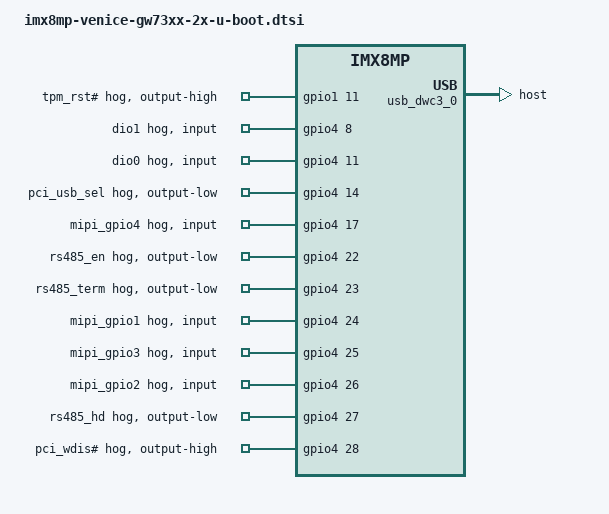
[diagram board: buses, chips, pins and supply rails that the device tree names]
// SPDX-License-Identifier: GPL-2.0+
/*
 * Copyright 2023 Gateworks Corporation
 */
#include "imx8mp-venice-gw702x-u-boot.dtsi"

&ethphy0 {
	reset-gpios = <&gpio3 14 GPIO_ACTIVE_LOW>;
	reset-delay-us = <1000>;
	reset-post-delay-us = <300000>;
};

&gpio1 {
	tpm_rst {
		gpio-hog;
		output-high;
		gpios = <11 GPIO_ACTIVE_HIGH>;
		line-name = "tpm_rst#";
	};
};

&gpio4 {
	dio_1 {
		gpio-hog;
		input;
		gpios = <8 GPIO_ACTIVE_HIGH>;
		line-name = "dio1";
	};

	dio_0 {
		gpio-hog;
		input;
		gpios = <11 GPIO_ACTIVE_HIGH>;
		line-name = "dio0";
	};

	pci_usb_sel {
		gpio-hog;
		output-low;
		gpios = <14 GPIO_ACTIVE_HIGH>;
		line-name = "pci_usb_sel";
	};

	mipi_gpio4 {
		gpio-hog;
		input;
		gpios = <17 GPIO_ACTIVE_HIGH>;
		line-name = "mipi_gpio4";
	};

	rs485_en {
		gpio-hog;
		output-low;
		gpios = <22 GPIO_ACTIVE_HIGH>;
		line-name = "rs485_en";
	};

	rs485_term {
		gpio-hog;
		output-low;
		gpios = <23 GPIO_ACTIVE_HIGH>;
		line-name = "rs485_term";
	};

	mipi_gpio1 {
		gpio-hog;
		input;
		gpios = <24 GPIO_ACTIVE_HIGH>;
		line-name = "mipi_gpio1";
	};

	mipi_gpio3 {
		gpio-hog;
		input;
		gpios = <25 GPIO_ACTIVE_HIGH>;
		line-name = "mipi_gpio3";
	};

	mipi_gpio2 {
		gpio-hog;
		input;
		gpios = <26 GPIO_ACTIVE_HIGH>;
		line-name = "mipi_gpio2";
	};

	rs485_hd {
		gpio-hog;
		output-low;
		gpios = <27 GPIO_ACTIVE_HIGH>;
		line-name = "rs485_hd";
	};

	pci_wdis {
		gpio-hog;
		output-high;
		gpios = <28 GPIO_ACTIVE_HIGH>;
		line-name = "pci_wdis#";
	};
};

/* gpio-usb-con not supported yet in U-Boot so make this a host for now */
&usb_dwc3_0 {
	dr_mode = "host";
};
